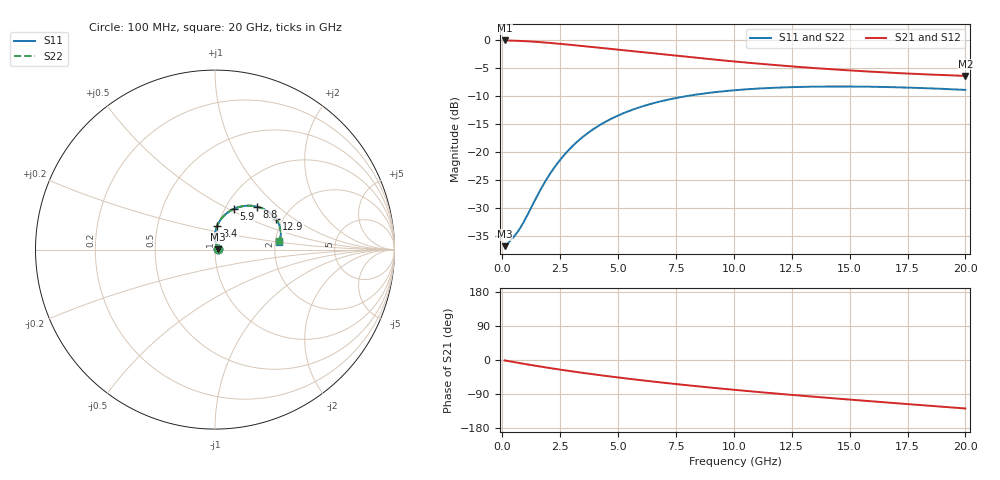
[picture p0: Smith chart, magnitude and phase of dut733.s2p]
! Touchstone file exported from HFSS 2024.1.0
!  File:  C:/UserFiles/LocalFiles/RDL_TSV_Batchsim/temp_RDL_TSV_733_1779893731.aedt
!  Generated:  11:09:23 PM May 27, 2026
!  Design:  RDL_TSV
!  Project:  temp_RDL_TSV_733_1779893731
!  Setup:  Setup1
!  Solution:  Sweep
! Variables:
!  dtsv = 7.44um
!  hbump = 3um
!  htsv = 63.22um
!  ldown = 395.41um
!  lrdl = 133.96um
!  p = 40
!  p1 = 41.63um
!  rhole = 10um
!  subl = 1722.07um
!  t = 450um
!  tdown = 3.3um
!  trdl = 4.83um
!  viad = 10um
!  wdown = 10.69um
!  wrdl = 25.25um
!  xbump = 18um
# GHz S MA R 50.000000
! Terminal data exported
! Port[1] = TM1_1_T1
! Port[2] = TM1_4_T1
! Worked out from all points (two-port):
!   200 points, 100 MHz to 20 GHz, reference 50 ohm
!   highest |S21| = -0.13 dB at 100 MHz (marker M1); lowest = -6.4 dB at 20 GHz (marker M2)
!   |S21| within 3 dB of the highest: start of sweep to 8.157 GHz
!   lowest |S11| = -36.8 dB at 100 MHz (marker M3), VSWR 1.03, Z = 51.5 + j0.247 ohm
!   |S11| at or under -10 dB: start of sweep to 8.016 GHz
!   |S22| runs from -36.8 to -8.3 dB; largest |S21 - S12| = 1.2e-14
!   S11 on the Smith chart (normalised r, x): 100 MHz: 1.03, +0.00; 3.4 GHz: 0.99, +0.26; 5.9 GHz: 1.10, +0.53; 8.8 GHz: 1.37, +0.74; 12.9 GHz: 1.84, +0.73; 20 GHz: 2.08, +0.22
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0.1  0.01451 9.5  0.9855 -1.1  0.9855 -1.1  0.01451 9.5
! Gamma 0 0 0 0
! Port Impedance 50 0 50 0
0.5  0.01763 39.3  0.9812 -5.5  0.9812 -5.5  0.01763 39.3
0.8  0.0215 57.8  0.9758 -8.7  0.9758 -8.7  0.0215 57.8
1.7  0.04818 87.2  0.9499 -17.9  0.9499 -17.9  0.04817 87.2
2.2  0.07053 90.2  0.9313 -22.7  0.9313 -22.7  0.07052 90.2
2.5  0.08534 89.9  0.9194 -25.4  0.9194 -25.4  0.08533 90.0
2.8  0.1008 88.8  0.9071 -28.1  0.9071 -28.1  0.1007 88.8
3.4  0.1323 85.1  0.8821 -33.3  0.8821 -33.3  0.1322 85.1
3.5  0.1375 84.4  0.8779 -34.2  0.8779 -34.2  0.1375 84.4
4  0.1633 80.5  0.857 -38.3  0.857 -38.3  0.1633 80.5
4.6  0.1929 75.6  0.8321 -43.0  0.8321 -43.0  0.1929 75.6
5.2  0.2203 70.7  0.8076 -47.6  0.8076 -47.6  0.2204 70.8
5.9  0.2493 65.2  0.7798 -52.7  0.7798 -52.7  0.2493 65.3
6.8  0.2814 58.6  0.7455 -58.9  0.7455 -58.9  0.2815 58.7
7.7  0.3081 52.6  0.7132 -64.8  0.7132 -64.8  0.3082 52.6
8.8  0.3339 45.8  0.6767 -71.6  0.6767 -71.6  0.334 45.9
10.1  0.3561 38.8  0.638 -79.2  0.638 -79.2  0.3562 38.9
11.5  0.3717 32.2  0.6017 -86.9  0.6017 -86.9  0.3719 32.3
12.9  0.3803 26.5  0.5707 -94.1  0.5707 -94.1  0.3806 26.5
13.4  0.382 24.6  0.5608 -96.6  0.5608 -96.6  0.3823 24.7
16.7  0.3788 14.3  0.5094 -112.6  0.5094 -112.6  0.3791 14.4
20  0.3576 7.3  0.4767 -128.0  0.4767 -128.0  0.358 7.3
